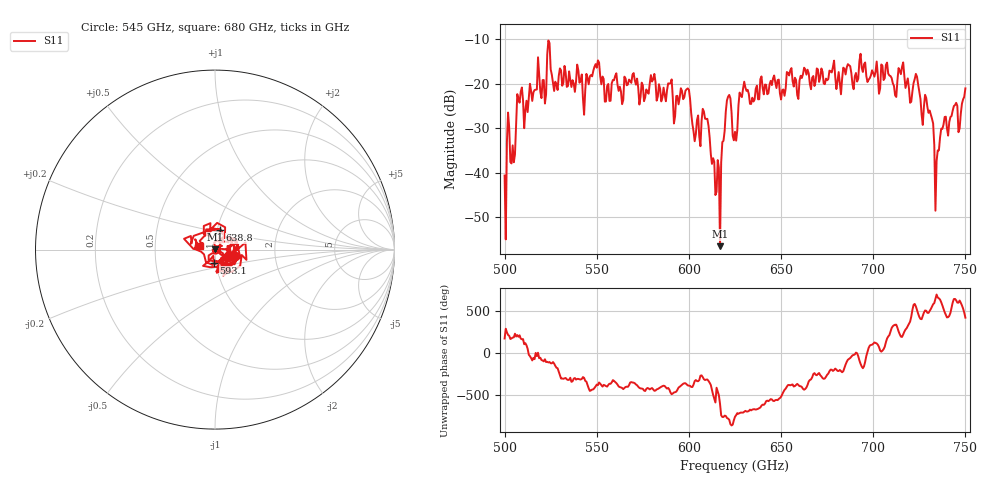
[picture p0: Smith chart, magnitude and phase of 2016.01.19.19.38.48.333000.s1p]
!Created with skrf (http://scikit-rf.org).
# GHz S RI R 50.0
!freq ReS11 ImS11
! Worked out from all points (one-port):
!   401 points, 500 GHz to 750 GHz, reference 50 ohm
!   lowest |S11| = -56.4 dB at 616.9 GHz (marker M1), VSWR 1.00, Z = 49.9 + j0.131 ohm
!   |S11| at or under -10 dB: start of sweep to end of sweep
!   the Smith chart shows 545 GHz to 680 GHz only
!   S11 on the Smith chart (normalised r, x): 545 GHz: 1.25, -0.09; 593.1 GHz: 0.97, -0.14; 638.8 GHz: 1.03, +0.23; 680 GHz: 0.84, +0.03
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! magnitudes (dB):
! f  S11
! 500 GHz  -40.6
! 502.5 GHz  -29.9
! 504.4 GHz  -33.8
! 508.1 GHz  -24.2
! 521.2 GHz  -19.1
! 524.4 GHz  -10.8
! 527.5 GHz  -19.5
! 531.2 GHz  -20.4
! 545 GHz  -18.7
! 562.5 GHz  -20.6
! 580.6 GHz  -19.0
! 593.1 GHz  -22.7
! 593.8 GHz  -22.7
! 608.8 GHz  -27.8
! 615.6 GHz  -37.1
! 616.9 GHz  -56.4
! 621.2 GHz  -22.9
! 625 GHz  -30.7
! 628.8 GHz  -23.0
! 638.8 GHz  -18.9
! 656.2 GHz  -19.3
! 680 GHz  -21.2
! 687.5 GHz  -16.0
! 718.8 GHz  -18.7
! 729.4 GHz  -25.2
! 734.4 GHz  -37.3
! 738.1 GHz  -29.2
! 750 GHz  -21.0
